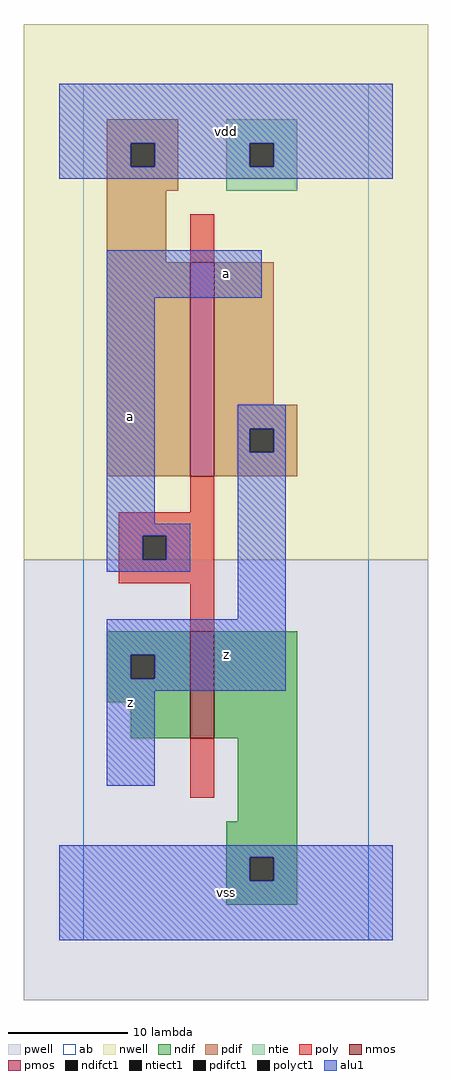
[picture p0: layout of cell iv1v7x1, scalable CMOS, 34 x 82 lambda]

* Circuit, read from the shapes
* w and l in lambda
.subckt iv1v7x1 a vdd vss z
M1 vss a z VSUBS nfet w=9 l=2
M2 z a vdd vdd pfet w=18 l=2
.ends

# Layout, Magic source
magic
tech scmos
<< ab >>
rect 0 0 24 72
<< nwell >>
rect -5 32 29 77
<< pwell >>
rect -5 -5 29 32
<< poly >>
rect 9 57 11 61
rect 9 36 11 39
rect 3 34 11 36
rect 3 32 5 34
rect 7 32 11 34
rect 3 30 11 32
rect 9 26 11 30
rect 9 12 11 17
<< ndif >>
rect 2 24 9 26
rect 2 22 4 24
rect 6 22 9 24
rect 2 20 9 22
rect 4 17 9 20
rect 11 17 18 26
rect 13 10 18 17
rect 12 7 18 10
rect 12 5 14 7
rect 16 5 18 7
rect 12 3 18 5
<< pdif >>
rect 2 67 8 69
rect 2 65 4 67
rect 6 65 8 67
rect 2 63 8 65
rect 2 57 7 63
rect 2 39 9 57
rect 11 45 16 57
rect 11 43 18 45
rect 11 41 14 43
rect 16 41 18 43
rect 11 39 18 41
<< alu1 >>
rect -2 67 26 72
rect -2 65 4 67
rect 6 65 14 67
rect 16 65 26 67
rect -2 64 26 65
rect 2 54 15 58
rect 2 35 6 54
rect 13 43 17 45
rect 13 41 14 43
rect 16 41 17 43
rect 2 34 9 35
rect 2 32 5 34
rect 7 32 9 34
rect 2 31 9 32
rect 13 27 17 41
rect 2 24 17 27
rect 2 22 4 24
rect 6 22 17 24
rect 2 21 17 22
rect 2 13 6 21
rect -2 7 26 8
rect -2 5 14 7
rect 16 5 26 7
rect -2 0 26 5
<< ntie >>
rect 12 67 18 69
rect 12 65 14 67
rect 16 65 18 67
rect 12 63 18 65
<< nmos >>
rect 9 17 11 26
<< pmos >>
rect 9 39 11 57
<< polyct1 >>
rect 5 32 7 34
<< ndifct1 >>
rect 4 22 6 24
rect 14 5 16 7
<< ntiect1 >>
rect 14 65 16 67
<< pdifct1 >>
rect 4 65 6 67
rect 14 41 16 43
<< labels >>
rlabel alu1 4 20 4 20 6 z
rlabel alu1 4 44 4 44 6 a
rlabel alu1 12 4 12 4 6 vss
rlabel alu1 12 24 12 24 6 z
rlabel alu1 12 68 12 68 6 vdd
rlabel alu1 12 56 12 56 6 a
<< end >>
